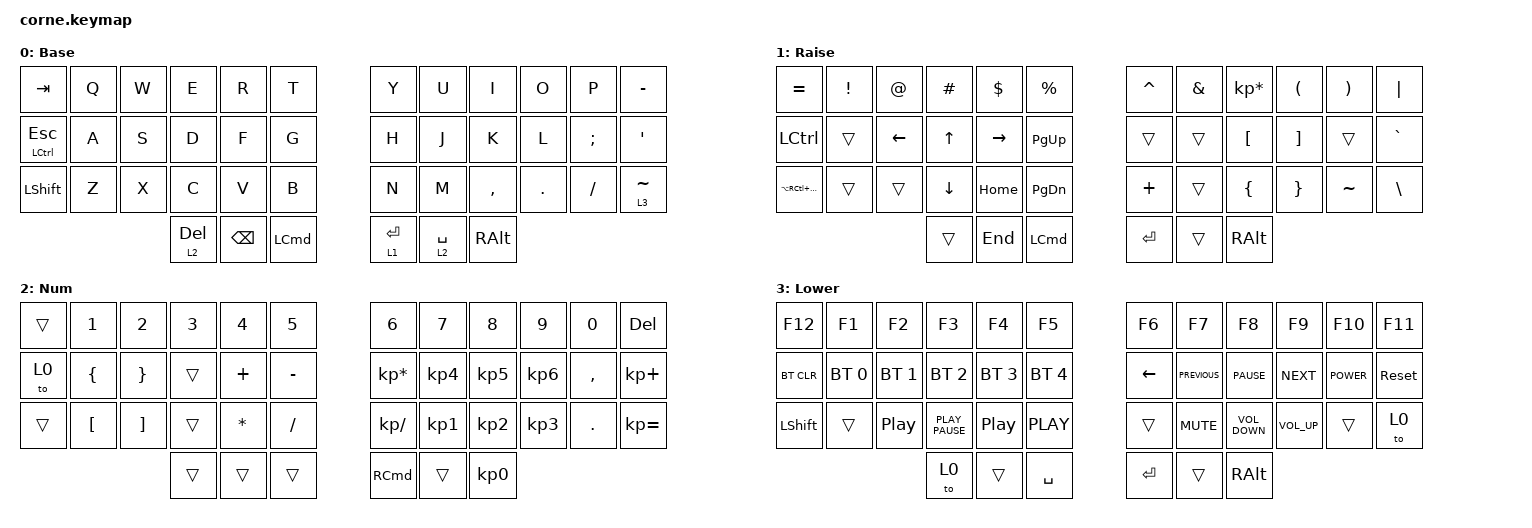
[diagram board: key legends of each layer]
/*
 * Copyright (c) 2020 The ZMK Contributors
 *
 * SPDX-License-Identifier: MIT
 */

#include <behaviors.dtsi>
#include <dt-bindings/zmk/bt.h>
#include <dt-bindings/zmk/keys.h>

/ {
    keymap {
        compatible = "zmk,keymap";

        base {
            // -----------------------------------------------------------------------------------------
            // |  TAB |  Q  |  W  |  E  |  R  |  T  |   |  Y  |  U   |  I  |  O  |  P  | BSLH |
            // |  ESC |  A  |  S  |  D  |  F  |  G  |   |  H  |  J   |  K  |  L  |  ;  |  '   |
            // | SHFT |  Z  |  X  |  C  |  V  |  B  |   |  N  |  M   |  ,  |  .  |  /  | CTRL |
            //                    |  1  | BSP | GUI |   | ENT | SPC  | ALT |

            label = "Base";
            bindings = <
&kp TAB                  &kp Q  &kp W  &kp E         &kp R          &kp T       &kp Y      &kp U        &kp I          &kp O    &kp P     &kp MINUS
&mt LEFT_CONTROL ESCAPE  &kp A  &kp S  &kp D         &kp F          &kp G       &kp H      &kp J        &kp K          &kp L    &kp SEMI  &kp SQT
&kp LEFT_SHIFT           &kp Z  &kp X  &kp C         &kp V          &kp B       &kp N      &kp M        &kp COMMA      &kp DOT  &kp FSLH  &lt 3 TILDE
                                       &lt 2 DELETE  &kp BACKSPACE  &kp LCMD    &lt 1 RET  &lt 2 SPACE  &kp RIGHT_ALT
            >;
        };

        raise {
            // -----------------------------------------------------------------------------------------
            // |  TAB |  !  |  @  |  #  |  $  |  %  |   |  ^  |  &  |  *  |  (  |  )  | BKSP |
            // | CTRL |     |     |     |     |     |   |  -  |  =  |  [  |  ]  |  \  |  `   |
            // | SHFT |     |     |     |     |     |   |  _  |  +  |  {  |  }  | "|" |  ~   |
            //                    | GUI |     | SPC |   | ENT |     | ALT |

            label = "Raise";
            bindings = <
&kp EQUAL              &kp EXCL  &kp AT    &kp HASH        &kp DLLR         &kp PRCNT        &kp CARET  &kp AMPS  &kp KP_MULTIPLY  &kp LPAR         &kp RPAR   &kp PIPE
&kp LCTRL              &trans    &kp LEFT  &kp UP_ARROW    &kp RIGHT_ARROW  &kp PAGE_UP      &trans     &trans    &kp LBKT         &kp RBKT         &trans     &kp GRAVE
&kp LA(RC(LG(LSHFT)))  &trans    &trans    &kp DOWN_ARROW  &kp HOME         &kp PAGE_DOWN    &kp PLUS   &trans    &kp LEFT_BRACE   &kp RIGHT_BRACE  &kp TILDE  &kp BACKSLASH
                                           &trans          &kp END          &kp LCMD         &kp RET    &trans    &kp RALT
            >;
        };

        num {
            bindings = <
&trans  &kp NUMBER_1      &kp NUMBER_2       &kp NUMBER_3  &kp N4        &kp NUMBER_5    &kp NUMBER_6     &kp NUMBER_7     &kp NUMBER_8     &kp NUMBER_9     &kp NUMBER_0  &kp DELETE
&to 0   &kp LEFT_BRACE    &kp RIGHT_BRACE    &trans        &kp PLUS      &kp MINUS       &kp KP_ASTERISK  &kp KP_NUMBER_4  &kp KP_NUMBER_5  &kp KP_NUMBER_6  &kp COMMA     &kp KP_PLUS
&trans  &kp LEFT_BRACKET  &kp RIGHT_BRACKET  &trans        &kp ASTERISK  &kp SLASH       &kp KP_DIVIDE    &kp KP_NUMBER_1  &kp KP_NUMBER_2  &kp KP_NUMBER_3  &kp DOT       &kp KP_EQUAL
                                             &trans        &trans        &trans          &kp RCMD         &trans           &kp KP_NUMBER_0
            >;

            label = "Num";
        };

        lower {
            // -----------------------------------------------------------------------------------------
            // |  TAB |  1  |  2  |  3  |  4  |  5  |   |  6  |  7  |  8  |  9  |  0  | BSPC |
            // | BTCLR| BT1 | BT2 | BT3 | BT4 | BT5 |   | LFT | DWN |  UP | RGT |     |      |
            // | SHFT |     |     |     |     |     |   |     |     |     |     |     |      |
            //                    |  0  |     | SPC |   | ENT |     | ALT |

            label = "Lower";
            bindings = <
&kp F12     &kp F1        &kp F2        &kp F3            &kp F4            &kp F5          &kp F6    &kp F7          &kp F8             &kp F9           &kp F10      &kp F11
&bt BT_CLR  &bt BT_SEL 0  &bt BT_SEL 1  &bt BT_SEL 2      &bt BT_SEL 3      &bt BT_SEL 4    &kp LEFT  &kp C_PREVIOUS  &kp C_PAUSE        &kp C_NEXT       &kp C_POWER  &sys_reset
&kp LSHFT   &trans        &kp C_PP      &kp K_PLAY_PAUSE  &kp C_PLAY_PAUSE  &kp C_PLAY      &trans    &kp K_MUTE      &kp K_VOLUME_DOWN  &kp K_VOLUME_UP  &trans       &to 0
                                        &to 0             &trans            &kp SPACE       &kp RET   &trans          &kp RALT
            >;
        };
    };
};
